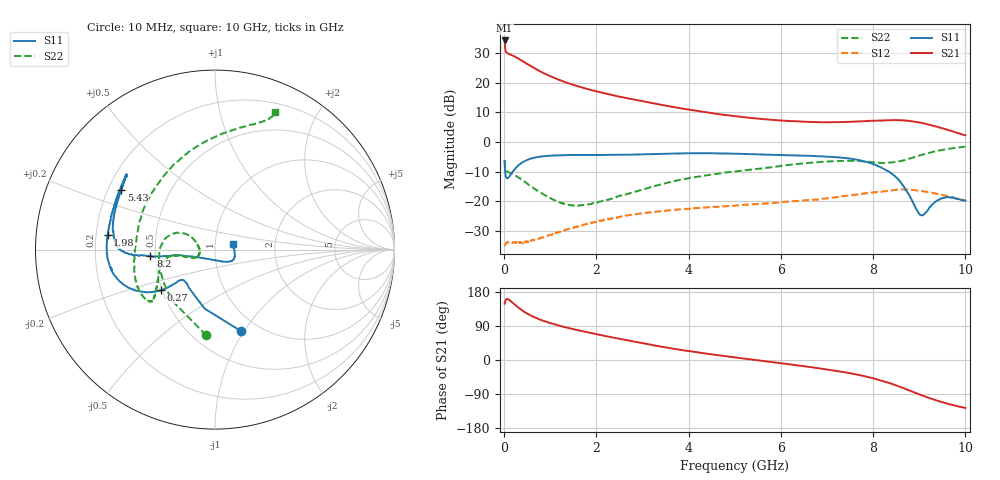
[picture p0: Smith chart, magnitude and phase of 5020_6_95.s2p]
# Hz S  dB  R 50
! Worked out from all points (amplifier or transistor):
!   1000 points, 10 MHz to 10 GHz, reference 50 ohm
!   highest |S21| = 34.2 dB at 10 MHz (marker M1)
!   |S21| within 3 dB of that: start of sweep to 26.08 MHz
!   unconditionally stable (mu >= 1): 55.26 MHz to end of sweep
!   at 1.67 GHz: K = 1.15, MAG = 20.9 dB, |S12| = -28.1 dB
!   at 5.01 GHz: K = 1.11, MAG = 13.0 dB, |S12| = -21.4 dB
!   at 10 GHz: K = 1.14, MAG = 8.7 dB, |S12| = -19.7 dB
!   S11 on the Smith chart (normalised r, x): 10 MHz: 0.82, -0.97; 270 MHz: 0.49, -0.26; 1.98 GHz: 0.25, +0.06; 5.43 GHz: 0.25, +0.27; 8.2 GHz: 0.47, -0.04; 10 GHz: 1.22, +0.07
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1e7  -6.40 -72.1  34.15 148.5  -35.09 31.6  -6.37 -95.8
7e7  -12.27 -135.2  29.89 160.9  -33.84 5.2  -9.97 -170.6
8e7  -12.18 -136.8  29.79 160.5  -33.66 5.6  -10.11 -173.5
1.1e8  -11.73 -138.8  29.59 158.4  -33.71 7.3  -10.25 -180.0
2.7e8  -8.49 -143.0  28.41 142.0  -33.62 13.6  -11.59 162.2
3.8e8  -7.02 -147.6  27.39 131.7  -33.84 16.3  -12.71 156.1
5.1e8  -5.98 -153.2  26.15 121.8  -33.81 19.6  -14.13 152.7
6.3e8  -5.40 -157.9  25.05 114.2  -32.99 24.5  -15.47 151.2
7.8e8  -4.96 -162.6  23.78 106.5  -32.37 29.9  -16.98 153.1
9.6e8  -4.67 -167.4  22.42 98.8  -31.50 34.7  -18.60 157.3
1.15e9  -4.52 -171.8  21.14 92.0  -30.51 37.3  -20.04 165.4
1.68e9  -4.38 177.9  18.36 76.4  -28.13 40.5  -21.29 -171.4
1.98e9  -4.39 172.3  17.10 68.7  -27.00 39.1  -20.50 -162.4
2.61e9  -4.31 160.2  14.89 53.5  -24.89 34.4  -17.81 -159.8
3.34e9  -4.05 147.2  12.67 36.6  -23.39 25.9  -14.57 -168.9
5.01e9  -3.96 142.7  8.66 6.7  -21.38 9.2  -9.93 -162.8
5.43e9  -4.16 147.5  7.94 0.3  -20.99 5.5  -9.20 -155.0
6.67e9  -4.72 168.3  6.71 -19.2  -19.47 -7.2  -6.99 -140.6
8.2e9  -8.83 -174.3  7.22 -55.2  -16.69 -36.9  -7.12 174.0
8.34e9  -10.00 -173.1  7.30 -60.3  -16.47 -40.7  -6.97 162.2
9.04e9  -24.58 -106.2  6.44 -92.5  -16.52 -70.9  -4.42 95.9
1e10  -19.75 16.9  2.23 -126.6  -19.74 -102.6  -1.58 66.5
